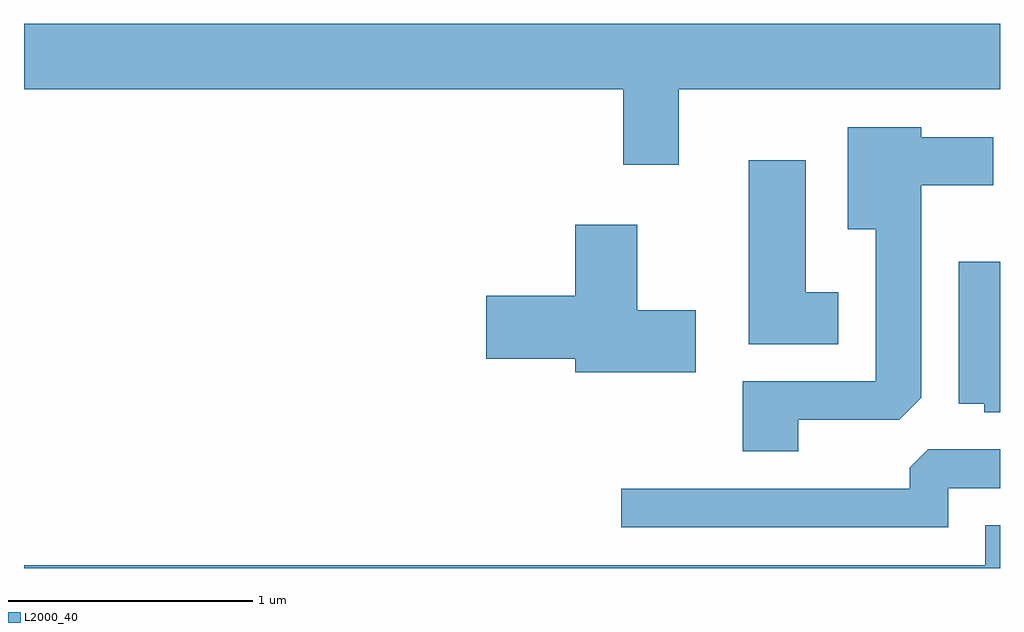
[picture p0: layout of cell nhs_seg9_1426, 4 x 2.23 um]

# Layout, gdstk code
import gdstk
lib = gdstk.Library(unit=1e-6, precision=1e-09)
def P(c, l, *ps):  # polygons
    for p in ps: c.add(gdstk.Polygon(p, *l))
L2000_40 = (2000, 40)

nhs_seg9_1426 = lib.new_cell('nhs_seg9_1426')
P(nhs_seg9_1426, L2000_40, [(228.294,2078.396),(229.611,2078.396),(229.611,2078.664),(225.611,2078.664),(225.611,2078.396),(228.066,2078.396),(228.066,2078.086),(228.294,2078.086)],
  [(228.784,2077.041),(229.199,2077.041),(229.289,2077.132),(229.289,2078.001),(229.584,2078.001),(229.584,2078.199),(229.289,2078.199),(229.289,2078.239),(228.986,2078.239),(228.986,2077.821),(229.101,2077.821),(229.101,2077.199),(228.556,2077.199),(228.556,2076.911),(228.784,2076.911)],
  [(228.949,2077.564),(228.814,2077.564),(228.814,2078.104),(228.581,2078.104),(228.581,2077.351),(228.949,2077.351)],
  [(228.364,2077.489),(228.124,2077.489),(228.124,2077.839),(227.871,2077.839),(227.871,2077.549),(227.506,2077.549),(227.506,2077.291),(227.871,2077.291),(227.871,2077.236),(228.364,2077.236)],
  [(229.611,2077.689),(229.441,2077.689),(229.441,2077.106),(229.546,2077.106),(229.546,2077.071),(229.611,2077.071)],
  [(229.399,2076.761),(229.611,2076.761),(229.611,2076.919),(229.317,2076.919),(229.241,2076.844),(229.241,2076.759),(228.058,2076.759),(228.058,2076.601),(229.399,2076.601)],
  [(229.611,2076.609),(229.551,2076.609),(229.551,2076.444),(225.611,2076.444),(225.611,2076.432),(229.611,2076.432)])

lib.write_gds('nhs_seg9_1426.gds')
